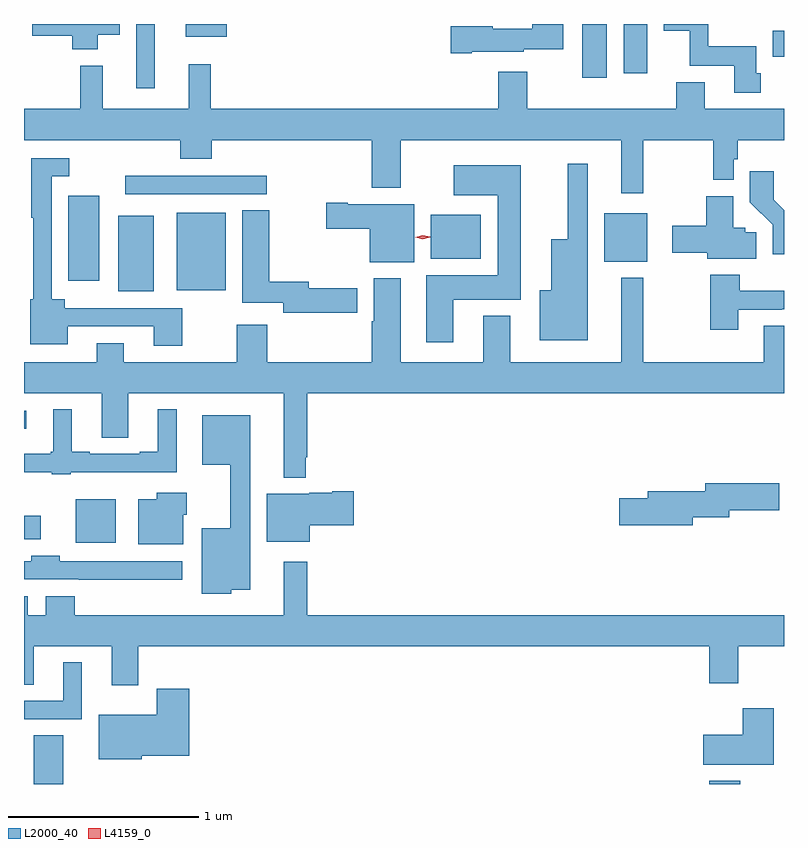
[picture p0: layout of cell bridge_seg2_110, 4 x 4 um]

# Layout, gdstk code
import gdstk
lib = gdstk.Library(unit=1e-6, precision=1e-09)
def R(c, l, rs):  # rectangles x0, y0, x1, y1
    for r in rs: c.add(gdstk.rectangle(r[:2], r[2:], *l))
def P(c, l, *ps):  # polygons
    for p in ps: c.add(gdstk.Polygon(p, *l))
L2000_40 = (2000, 40)
L4159_0 = (4159, 0)

bridge_seg2_110 = lib.new_cell('bridge_seg2_110')
R(bridge_seg2_110, L2000_40, [(590.048,629.595,590.203,629.852), (593.603,629.595,593.768,629.611), (590.27,630.866,590.479,631.093), (589.997,630.884,590.086,631.006), (589.997,631.464,590.008,631.56), (590.492,632.189,590.68,632.587), (590.801,632.195,591.058,632.602), (590.231,632.244,590.392,632.692), (593.051,632.345,593.278,632.599), (592.139,632.36,592.402,632.59), (590.529,632.7,591.274,632.796), (590.589,633.258,590.686,633.595), (592.934,633.312,593.065,633.595), (593.153,633.336,593.278,633.595), (593.939,633.422,593.997,633.56), (590.849,633.527,591.064,633.595)])
P(bridge_seg2_110, L2000_40, [(592.354,633.449),(592.626,633.449),(592.626,633.461),(592.834,633.461),(592.834,633.595),(592.672,633.595),(592.672,633.571),(592.464,633.571),(592.464,633.584),(592.242,633.584),(592.242,633.442),(592.354,633.442)],
  [(593.875,633.336),(593.851,633.336),(593.851,633.478),(593.598,633.478),(593.598,633.595),(593.363,633.595),(593.363,633.56),(593.5,633.56),(593.5,633.374),(593.735,633.374),(593.735,633.234),(593.875,633.234)],
  [(590.386,633.539),(590.5,633.539),(590.5,633.595),(590.04,633.595),(590.04,633.532),(590.252,633.532),(590.252,633.461),(590.386,633.461)],
  [(593.255,632.984),(593.625,632.984),(593.625,632.774),(593.733,632.774),(593.733,632.883),(593.753,632.883),(593.753,632.984),(593.997,632.984),(593.997,633.148),(593.581,633.148),(593.581,633.289),(593.429,633.289),(593.429,633.148),(592.645,633.148),(592.645,633.343),(592.493,633.343),(592.493,633.148),(590.981,633.148),(590.981,633.382),(590.864,633.382),(590.864,633.148),(590.411,633.148),(590.411,633.376),(590.293,633.376),(590.293,633.148),(589.997,633.148),(589.997,632.984),(590.819,632.984),(590.819,632.885),(590.984,632.885),(590.984,632.984),(591.827,632.984),(591.827,632.732),(591.979,632.732),(591.979,632.984),(593.141,632.984),(593.141,632.703),(593.255,632.703)],
  [(590.829,632.1),(590.212,632.1),(590.212,632.146),(590.142,632.146),(590.142,632.793),(590.236,632.793),(590.236,632.889),(590.034,632.889),(590.034,632.575),(590.046,632.575),(590.046,632.146),(590.03,632.146),(590.03,631.91),(590.227,631.91),(590.227,632.004),(590.681,632.004),(590.681,631.902),(590.829,631.902)],
  [(592.963,632.86),(592.859,632.86),(592.859,632.461),(592.772,632.461),(592.772,632.194),(592.712,632.194),(592.712,631.931),(592.963,631.931)],
  [(592.255,632.144),(592.612,632.144),(592.612,632.851),(592.26,632.851),(592.26,632.693),(592.49,632.693),(592.49,632.272),(592.115,632.272),(592.115,631.92),(592.255,631.92)],
  [(593.997,632.616),(593.944,632.669),(593.944,632.821),(593.818,632.821),(593.818,632.658),(593.937,632.539),(593.937,632.384),(593.997,632.384)],
  [(593.852,632.498),(593.793,632.498),(593.793,632.523),(593.731,632.523),(593.731,632.689),(593.587,632.689),(593.587,632.532),(593.409,632.532),(593.409,632.39),(593.594,632.39),(593.594,632.36),(593.852,632.36)],
  [(592.051,632.647),(591.7,632.647),(591.7,632.655),(591.588,632.655),(591.588,632.518),(591.818,632.518),(591.818,632.342),(592.051,632.342)],
  [(591.751,632.205),(591.496,632.205),(591.496,632.239),(591.288,632.239),(591.288,632.615),(591.146,632.615),(591.146,632.129),(591.362,632.129),(591.362,632.075),(591.751,632.075)],
  [(593.755,632.091),(593.984,632.091),(593.984,632.094),(593.997,632.094),(593.997,632.191),(593.763,632.191),(593.763,632.275),(593.608,632.275),(593.608,631.986),(593.755,631.986)],
  [(591.479,631.315),(591.487,631.315),(591.487,631.652),(593.997,631.652),(593.997,632.006),(593.891,632.006),(593.891,631.816),(593.255,631.816),(593.255,632.26),(593.141,632.26),(593.141,631.816),(592.555,631.816),(592.555,632.059),(592.415,632.059),(592.415,631.816),(591.979,631.816),(591.979,632.257),(591.839,632.257),(591.839,632.031),(591.827,632.031),(591.827,631.816),(591.278,631.816),(591.278,632.011),(591.118,632.011),(591.118,631.816),(590.521,631.816),(590.521,631.915),(590.381,631.915),(590.381,631.816),(589.997,631.816),(589.997,631.652),(590.405,631.652),(590.405,631.417),(590.545,631.417),(590.545,631.652),(591.365,631.652),(591.365,631.208),(591.479,631.208)],
  [(590.244,631.235),(590.8,631.235),(590.8,631.567),(590.702,631.567),(590.702,631.345),(590.606,631.345),(590.606,631.332),(590.344,631.332),(590.344,631.345),(590.248,631.345),(590.248,631.567),(590.15,631.567),(590.15,631.345),(590.139,631.345),(590.139,631.333),(589.997,631.333),(589.997,631.235),(590.144,631.235),(590.144,631.224),(590.244,631.224)],
  [(591.087,630.617),(591.187,630.617),(591.187,631.537),(590.936,631.537),(590.936,631.274),(591.083,631.274),(591.083,630.94),(590.933,630.94),(590.933,630.596),(591.087,630.596)],
  [(593.518,631),(593.71,631),(593.71,631.037),(593.971,631.037),(593.971,631.179),(593.582,631.179),(593.582,631.136),(593.279,631.136),(593.279,631.1),(593.13,631.1),(593.13,630.958),(593.518,630.958)],
  [(591.502,630.958),(591.733,630.958),(591.733,631.136),(591.62,631.136),(591.62,631.129),(591.498,631.129),(591.498,631.123),(591.275,631.123),(591.275,630.869),(591.502,630.869)],
  [(590.836,631.011),(590.854,631.011),(590.854,631.129),(590.696,631.129),(590.696,631.093),(590.597,631.093),(590.597,630.857),(590.836,630.857)],
  [(590.83,630.768),(590.184,630.768),(590.184,630.796),(590.034,630.796),(590.034,630.768),(589.997,630.768),(589.997,630.672),(590.284,630.672),(590.284,630.671),(590.83,630.671)],
  [(590.599,630.32),(593.603,630.32),(593.603,630.126),(593.755,630.126),(593.755,630.32),(593.997,630.32),(593.997,630.484),(591.487,630.484),(591.487,630.766),(591.365,630.766),(591.365,630.484),(590.264,630.484),(590.264,630.583),(590.111,630.583),(590.111,630.484),(590.017,630.484),(590.017,630.583),(589.997,630.583),(589.997,630.118),(590.047,630.118),(590.047,630.32),(590.459,630.32),(590.459,630.114),(590.599,630.114)],
  [(590.302,630.235),(590.204,630.235),(590.204,630.033),(589.997,630.033),(589.997,629.937),(590.302,629.937)],
  [(590.616,629.744),(590.867,629.744),(590.867,630.097),(590.696,630.097),(590.696,629.959),(590.39,629.959),(590.39,629.726),(590.616,629.726)],
  [(593.944,629.995),(593.78,629.995),(593.78,629.854),(593.571,629.854),(593.571,629.696),(593.944,629.696)])
P(bridge_seg2_110, L4159_0, [(592.096,632.463),(592.057,632.473),(592.057,632.473),(592.057,632.473),(592.096,632.483),(592.134,632.474),(592.134,632.474),(592.134,632.473)])

lib.write_gds('bridge_seg2_110.gds')
